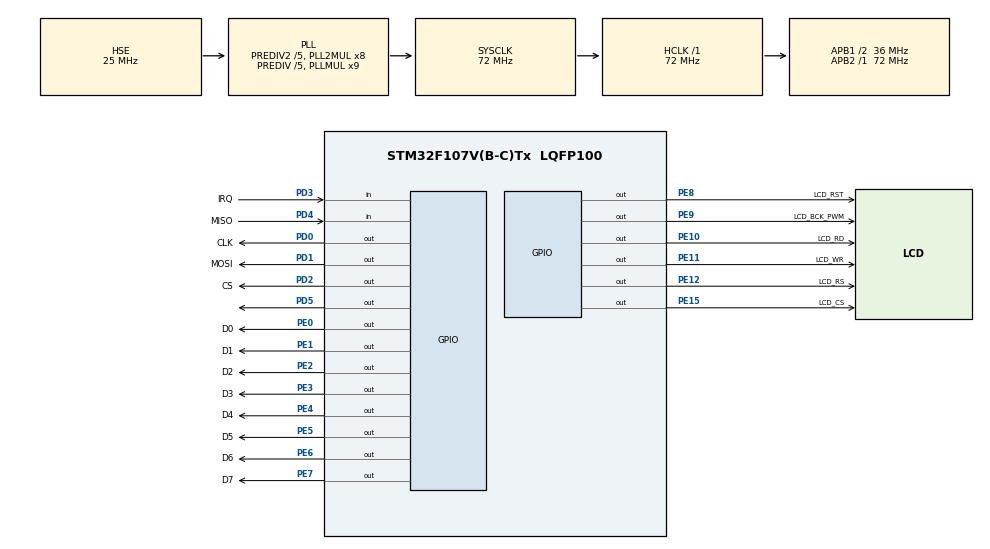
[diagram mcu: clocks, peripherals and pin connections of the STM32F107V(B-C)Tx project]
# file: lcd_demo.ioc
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Mcu.Family=STM32F1
Mcu.Name=STM32F107V(B-C)Tx
Mcu.Package=LQFP100
NVIC.PriorityGroup=NVIC_PRIORITYGROUP_4
OSC_IN.Mode=HSE-External-Oscillator
OSC_IN.Signal=RCC_OSC_IN
OSC_OUT.Mode=HSE-External-Oscillator
OSC_OUT.Signal=RCC_OSC_OUT
PA13.Mode=Serial_Wire
PA13.Signal=SYS_JTMS-SWDIO
PA14.Mode=Serial_Wire
PA14.Signal=SYS_JTCK-SWCLK
PD0.GPIO_Label=CLK
PD0.GPIO_Speed=GPIO_SPEED_FREQ_HIGH
PD0.PinState=GPIO_PIN_SET
PD0.Signal=GPIO_Output
PD1.GPIO_Label=MOSI
PD1.GPIO_Speed=GPIO_SPEED_FREQ_HIGH
PD1.PinState=GPIO_PIN_SET
PD1.Signal=GPIO_Output
PD2.GPIO_Label=CS
PD2.GPIO_Speed=GPIO_SPEED_FREQ_HIGH
PD2.PinState=GPIO_PIN_SET
PD2.Signal=GPIO_Output
PD3.GPIO_Label=IRQ
PD3.GPIO_PuPd=GPIO_PULLDOWN
PD3.Signal=GPIO_Input
PD4.GPIO_Label=MISO
PD4.GPIO_PuPd=GPIO_PULLDOWN
PD4.Signal=GPIO_Input
PD5.Signal=GPIO_Output
PE0.GPIO_Label=D0
PE0.GPIO_PuPd=GPIO_NOPULL
PE0.PinState=GPIO_PIN_SET
PE0.Signal=GPIO_Output
PE1.GPIO_Label=D1
PE1.PinState=GPIO_PIN_SET
PE1.Signal=GPIO_Output
PE10.GPIO_Label=LCD_RD
PE10.PinState=GPIO_PIN_SET
PE10.Signal=GPIO_Output
PE11.GPIO_Label=LCD_WR
PE11.PinState=GPIO_PIN_SET
PE11.Signal=GPIO_Output
PE12.GPIO_Label=LCD_RS
PE12.PinState=GPIO_PIN_SET
PE12.Signal=GPIO_Output
PE15.GPIO_Label=LCD_CS
PE15.PinState=GPIO_PIN_SET
PE15.Signal=GPIO_Output
PE2.GPIO_Label=D2
PE2.PinState=GPIO_PIN_SET
PE2.Signal=GPIO_Output
PE3.GPIO_Label=D3
PE3.PinState=GPIO_PIN_SET
PE3.Signal=GPIO_Output
PE4.GPIO_Label=D4
PE4.PinState=GPIO_PIN_SET
PE4.Signal=GPIO_Output
PE5.GPIO_Label=D5
PE5.PinState=GPIO_PIN_SET
PE5.Signal=GPIO_Output
PE6.GPIO_Label=D6
PE6.PinState=GPIO_PIN_SET
PE6.Signal=GPIO_Output
PE7.GPIO_Label=D7
PE7.PinState=GPIO_PIN_SET
PE7.Signal=GPIO_Output
PE8.GPIO_Label=LCD_RST
PE8.PinState=GPIO_PIN_SET
PE8.Signal=GPIO_Output
PE9.GPIO_Label=LCD_BCK_PWM
PE9.PinState=GPIO_PIN_SET
PE9.Signal=GPIO_Output
ProjectManager.HeapSize=0x200
ProjectManager.StackSize=0x400
ProjectManager.TargetToolchain=MDK-ARM V5
RCC.AHBFreq_Value=72000000
RCC.APB1CLKDivider=RCC_HCLK_DIV2
RCC.APB1Freq_Value=36000000
RCC.APB1TimFreq_Value=72000000
RCC.APB2Freq_Value=72000000
RCC.APB2TimFreq_Value=72000000
RCC.HCLKFreq_Value=72000000
RCC.HSEDivPLL=RCC_HSE_PREDIV_DIV5
RCC.HSE_VALUE=25000000
RCC.PLLMUL=RCC_PLL_MUL9
RCC.PLLSourceVirtual=RCC_PLLSOURCE_HSE
RCC.Prediv1Source=RCC_PREDIV1_SOURCE_PLL2
RCC.Prediv2=RCC_HSE_PREDIV2_DIV5
RCC.SYSCLKFreq_VALUE=72000000
RCC.SYSCLKSource=RCC_SYSCLKSOURCE_PLLCLK
RCC.USBFreq_Value=48000000
board=custom

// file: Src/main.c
/* USER CODE BEGIN Header */
/**
  ******************************************************************************
  * @file           : main.c
  * @brief          : Main program body
  ******************************************************************************
  * @attention
  *
  * <h2><center>&copy; Copyright (c) 2019 STMicroelectronics.
  * All rights reserved.</center></h2>
  *
  * This software component is licensed by ST under BSD 3-Clause license,
  * the "License"; You may not use this file except in compliance with the
  * License. You may obtain a copy of the License at:
  *                        opensource.org/licenses/BSD-3-Clause
  *
  ******************************************************************************
  */
/* USER CODE END Header */

#include "main.h"

/* USER CODE BEGIN Includes */
#include "ILI9341_STM32_Driver.h"
#include "ILI9341_Touchscreen.h"
#include "ILI9341_GFX.h"
#include "snow_tiger.h"
#include "stdlib.h"

/* USER CODE END Includes */

void SystemClock_Config(void);
static void MX_GPIO_Init(void);

int main(void)
{

  /* MCU Configuration--------------------------------------------------------*/

  /* Reset of all peripherals, Initializes the Flash interface and the Systick. */
  HAL_Init();

  /* Configure the system clock */
  SystemClock_Config();

  /* Initialize all configured peripherals */
  MX_GPIO_Init();
  /* USER CODE BEGIN 2 */
	ILI9341_Init();
  /* USER CODE END 2 */

  /* Infinite loop */
  /* USER CODE BEGIN WHILE */
	uint16_t x_pos = 0;
  while (1)
  {
//	ILI9341_Reset();
//	ILI9341_Set_Rotation(SCREEN_HORIZONTAL_1);
//	ILI9341_Fill_Screen(BLUE);
//	HAL_Delay(3000);
//	ILI9341_Fill_Screen(WHITE);
//	HAL_Delay(3000);
//
	if(TP_Touchpad_Pressed())
	{
		uint16_t x_pos = 0;
		uint16_t y_pos = 0;

		uint16_t position_array[2];
		if(TP_Read_Coordinates(position_array) == TOUCHPAD_DATA_OK)
		{
			x_pos = position_array[0];
			y_pos = position_array[1];
		}
	}

	if(x_pos>0){
		HAL_GPIO_TogglePin(GPIOD,GPIO_PIN_5);
		HAL_Delay(500);
	}

    /* USER CODE END WHILE */

  }
}

void SystemClock_Config(void)
{
  RCC_OscInitTypeDef RCC_OscInitStruct = {0};
  RCC_ClkInitTypeDef RCC_ClkInitStruct = {0};

  /** Initializes the CPU, AHB and APB busses clocks
  */
  RCC_OscInitStruct.OscillatorType = RCC_OSCILLATORTYPE_HSE;
  RCC_OscInitStruct.HSEState = RCC_HSE_ON;
  RCC_OscInitStruct.HSEPredivValue = RCC_HSE_PREDIV_DIV5;
  RCC_OscInitStruct.HSIState = RCC_HSI_ON;
  RCC_OscInitStruct.Prediv1Source = RCC_PREDIV1_SOURCE_PLL2;
  RCC_OscInitStruct.PLL.PLLState = RCC_PLL_ON;
  RCC_OscInitStruct.PLL.PLLSource = RCC_PLLSOURCE_HSE;
  RCC_OscInitStruct.PLL.PLLMUL = RCC_PLL_MUL9;
  RCC_OscInitStruct.PLL2.PLL2State = RCC_PLL2_ON;
  RCC_OscInitStruct.PLL2.PLL2MUL = RCC_PLL2_MUL8;
  RCC_OscInitStruct.PLL2.HSEPrediv2Value = RCC_HSE_PREDIV2_DIV5;
  if (HAL_RCC_OscConfig(&RCC_OscInitStruct) != HAL_OK)
  {
    Error_Handler();
  }
  /** Initializes the CPU, AHB and APB busses clocks
  */
  RCC_ClkInitStruct.ClockType = RCC_CLOCKTYPE_HCLK|RCC_CLOCKTYPE_SYSCLK
                              |RCC_CLOCKTYPE_PCLK1|RCC_CLOCKTYPE_PCLK2;
  RCC_ClkInitStruct.SYSCLKSource = RCC_SYSCLKSOURCE_PLLCLK;
  RCC_ClkInitStruct.AHBCLKDivider = RCC_SYSCLK_DIV1;
  RCC_ClkInitStruct.APB1CLKDivider = RCC_HCLK_DIV2;
  RCC_ClkInitStruct.APB2CLKDivider = RCC_HCLK_DIV1;

  if (HAL_RCC_ClockConfig(&RCC_ClkInitStruct, FLASH_LATENCY_2) != HAL_OK)
  {
    Error_Handler();
  }
  /** Configure the Systick interrupt time
  */
  __HAL_RCC_PLLI2S_ENABLE();
}

static void MX_GPIO_Init(void)
{
  GPIO_InitTypeDef GPIO_InitStruct = {0};

  /* GPIO Ports Clock Enable */
  __HAL_RCC_GPIOE_CLK_ENABLE();
  __HAL_RCC_GPIOA_CLK_ENABLE();
  __HAL_RCC_GPIOD_CLK_ENABLE();

  /*Configure GPIO pin Output Level */
  HAL_GPIO_WritePin(GPIOE, D2_Pin|D3_Pin|D4_Pin|D5_Pin
                          |D6_Pin|D7_Pin|LCD_RST_Pin|LCD_BCK_PWM_Pin
                          |LCD_RD_Pin|LCD_WR_Pin|LCD_RS_Pin|LCD_CS_Pin
                          |D0_Pin|D1_Pin, GPIO_PIN_SET);

  /*Configure GPIO pin Output Level */
  HAL_GPIO_WritePin(GPIOD, CLK_Pin|MOSI_Pin|CS_Pin, GPIO_PIN_SET);

  /*Configure GPIO pin Output Level */
  HAL_GPIO_WritePin(GPIOD, GPIO_PIN_5, GPIO_PIN_RESET);

  /*Configure GPIO pins : D2_Pin D3_Pin D4_Pin D5_Pin
                           D6_Pin D7_Pin LCD_RST_Pin LCD_BCK_PWM_Pin
                           LCD_RD_Pin LCD_WR_Pin LCD_RS_Pin LCD_CS_Pin
                           D0_Pin D1_Pin */
  GPIO_InitStruct.Pin = D2_Pin|D3_Pin|D4_Pin|D5_Pin
                          |D6_Pin|D7_Pin|LCD_RST_Pin|LCD_BCK_PWM_Pin
                          |LCD_RD_Pin|LCD_WR_Pin|LCD_RS_Pin|LCD_CS_Pin
                          |D0_Pin|D1_Pin;
  GPIO_InitStruct.Mode = GPIO_MODE_OUTPUT_PP;
  GPIO_InitStruct.Pull = GPIO_NOPULL;
  GPIO_InitStruct.Speed = GPIO_SPEED_FREQ_LOW;
  HAL_GPIO_Init(GPIOE, &GPIO_InitStruct);

  /*Configure GPIO pins : CLK_Pin MOSI_Pin CS_Pin */
  GPIO_InitStruct.Pin = CLK_Pin|MOSI_Pin|CS_Pin;
  GPIO_InitStruct.Mode = GPIO_MODE_OUTPUT_PP;
  GPIO_InitStruct.Pull = GPIO_NOPULL;
  GPIO_InitStruct.Speed = GPIO_SPEED_FREQ_HIGH;
  HAL_GPIO_Init(GPIOD, &GPIO_InitStruct);

  /*Configure GPIO pins : IRQ_Pin MISO_Pin */
  GPIO_InitStruct.Pin = IRQ_Pin|MISO_Pin;
  GPIO_InitStruct.Mode = GPIO_MODE_INPUT;
  GPIO_InitStruct.Pull = GPIO_PULLDOWN;
  HAL_GPIO_Init(GPIOD, &GPIO_InitStruct);

  /*Configure GPIO pin : PD5 */
  GPIO_InitStruct.Pin = GPIO_PIN_5;
  GPIO_InitStruct.Mode = GPIO_MODE_OUTPUT_PP;
  GPIO_InitStruct.Pull = GPIO_NOPULL;
  GPIO_InitStruct.Speed = GPIO_SPEED_FREQ_LOW;
  HAL_GPIO_Init(GPIOD, &GPIO_InitStruct);

}

void Error_Handler(void)
{
}

/************************ (C) COPYRIGHT STMicroelectronics *****END OF FILE****/
